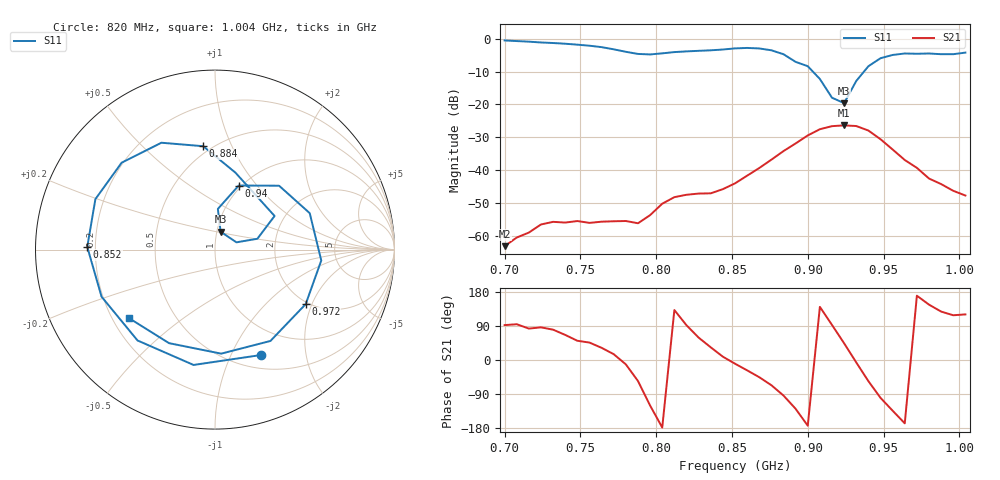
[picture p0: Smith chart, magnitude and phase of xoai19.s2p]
# Hz S RI R 50
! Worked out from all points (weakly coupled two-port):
!   39 points, 700 MHz to 1.004 GHz, reference 50 ohm
!   highest |S21| = -26.40 dB at 924 MHz (marker M1); lowest = -63.2 dB at 700 MHz (marker M2)
!   lowest |S11| = -19.6 dB at 924 MHz (marker M3), VSWR 1.23, Z = 52.2 + j10.5 ohm
!   |S11| at or under -10 dB: 903.3 MHz to 937.1 MHz (33.79 MHz wide, 3.67 % of centre)
!   S12 and S22 are empty: the file has one direction only
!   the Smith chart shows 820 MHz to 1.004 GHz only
!   S11 on the Smith chart (normalised r, x): 820 MHz: 0.66, -1.31; 852 MHz: 0.17, +0.01; 884 MHz: 0.45, +0.78; 940 MHz: 0.97, +0.81; 972 MHz: 1.94, -1.80; 1.004 GHz: 0.27, -0.32
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7e8  0.762 0.5506  -2.54e-05 0.000693  0 0  0 0
7.24e8  0.841 -0.2457  9.97e-05 0.00148  0 0  0 0
7.4e8  0.458 -0.7023  0.000642 0.00145  0 0  0 0
7.56e8  -0.1953 -0.757  0.00109 0.00113  0 0  0 0
7.72e8  -0.6612 -0.1941  0.0016 0.000439  0 0  0 0
7.8e8  -0.5871 0.2329  0.00164 -0.000336  0 0  0 0
7.88e8  -0.2332 0.5376  0.000877 -0.00128  0 0  0 0
7.96e8  0.2576 0.515  -0.00104 -0.00178  0 0  0 0
8.04e8  0.5772 0.1572  -0.00307 -9.64e-05  0 0  0 0
8.2e8  0.2567 -0.5873  -0.000121 0.0042  0 0  0 0
8.36e8  -0.4317 -0.5063  0.00369 0.00244  0 0  0 0
8.52e8  -0.7116 0.015  0.00618 -0.00106  0 0  0 0
8.68e8  -0.5201 0.4843  0.00754 -0.00764  0 0  0 0
8.84e8  -0.0658 0.5761  -0.00129 -0.0194  0 0  0 0
9e8  0.332 0.1873  -0.0334 -0.0039  0 0  0 0
9.08e8  0.2359 0.0603  -0.0321 0.0268  0 0  0 0
9.24e8  0.0314 0.0997  0.0344 0.0332  0 0  0 0
9.4e8  0.1321 0.3569  0.0224 -0.0331  0 0  0 0
9.56e8  0.5278 0.203  -0.0142 -0.0148  0 0  0 0
9.72e8  0.5053 -0.3038  -0.0106 0.00194  0 0  0 0
9.88e8  0.0344 -0.5797  -0.00374 0.00483  0 0  0 0
1.004e9  -0.4819 -0.3802  -0.00207 0.00353  0 0  0 0
